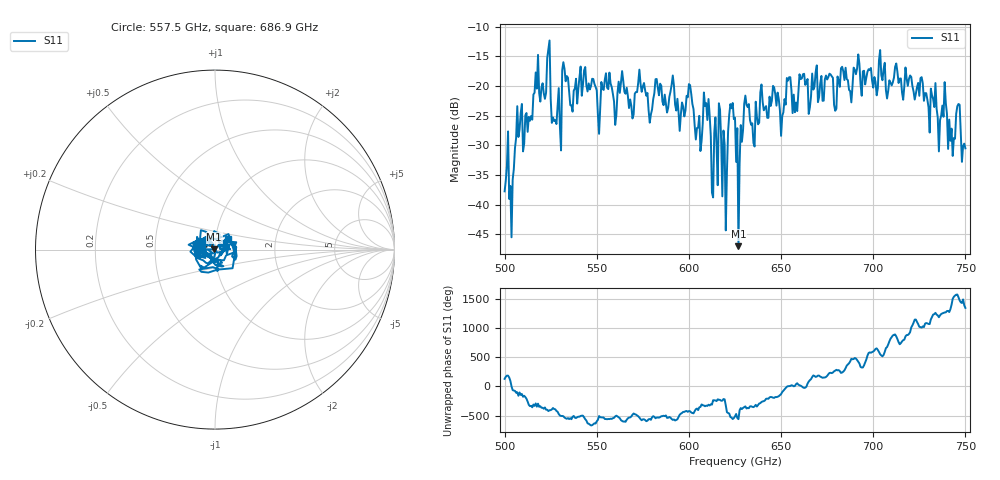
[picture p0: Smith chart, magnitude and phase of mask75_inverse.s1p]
!Created with skrf (http://scikit-rf.org).
# GHz S MA R 50.0
!freq magS11 angS11
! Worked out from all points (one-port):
!   401 points, 500 GHz to 750 GHz, reference 50 ohm
!   lowest |S11| = -47.0 dB at 626.9 GHz (marker M1), VSWR 1.01, Z = 49.6 + j0.172 ohm
!   |S11| at or under -10 dB: start of sweep to end of sweep
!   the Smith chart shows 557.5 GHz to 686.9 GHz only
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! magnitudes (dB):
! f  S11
! 500 GHz  -37.7
! 503.8 GHz  -45.5
! 508.1 GHz  -27.3
! 513.8 GHz  -25.8
! 516.9 GHz  -17.7
! 523.8 GHz  -13.7
! 526.9 GHz  -25.9
! 531.2 GHz  -17.3
! 562.5 GHz  -21.1
! 593.8 GHz  -22.1
! 600 GHz  -19.7
! 605.6 GHz  -25.0
! 609.4 GHz  -22.9
! 612.5 GHz  -38.0
! 617.5 GHz  -29.1
! 619.4 GHz  -29.9
! 622.5 GHz  -23.0
! 625 GHz  -25.3
! 626.9 GHz  -47.0
! 631.2 GHz  -23.2
! 634.4 GHz  -26.3
! 656.2 GHz  -24.6
! 687.5 GHz  -20.8
! 718.8 GHz  -20.0
! 738.8 GHz  -19.3
! 743.1 GHz  -31.8
! 746.2 GHz  -23.0
! 750 GHz  -30.5
